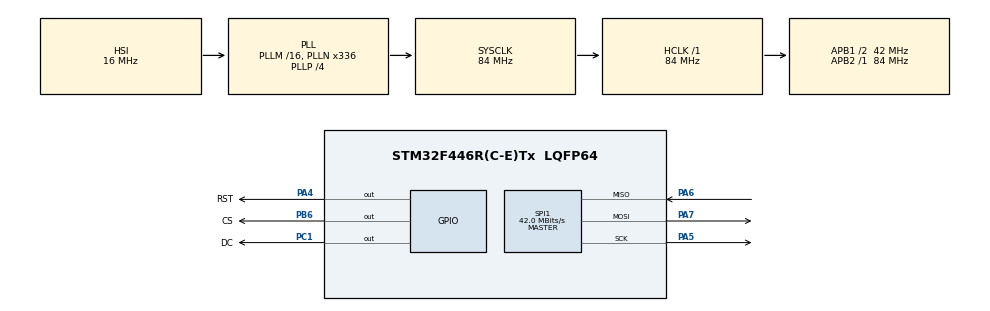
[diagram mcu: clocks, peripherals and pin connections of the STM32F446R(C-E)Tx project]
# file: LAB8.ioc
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Mcu.Family=STM32F4
Mcu.Name=STM32F446R(C-E)Tx
Mcu.Package=LQFP64
NVIC.PriorityGroup=NVIC_PRIORITYGROUP_0
PA13.GPIO_Label=TMS
PA13.Signal=SYS_JTMS-SWDIO
PA14.GPIO_Label=TCK
PA14.Signal=SYS_JTCK-SWCLK
PA2.GPIO_Label=USART_TX
PA2.Signal=USART2_TX
PA3.GPIO_Label=USART_RX
PA3.Signal=USART2_RX
PA4.GPIO_Label=RST
PA4.PinState=GPIO_PIN_SET
PA4.Signal=GPIO_Output
PA5.Mode=Full_Duplex_Master
PA5.Signal=SPI1_SCK
PA6.Mode=Full_Duplex_Master
PA6.Signal=SPI1_MISO
PA7.Mode=Full_Duplex_Master
PA7.Signal=SPI1_MOSI
PB3.GPIO_Label=SWO
PB3.Signal=SYS_JTDO-SWO
PB6.GPIO_Label=CS
PB6.PinState=GPIO_PIN_SET
PB6.Signal=GPIO_Output
PC1.GPIO_Label=DC
PC1.PinState=GPIO_PIN_SET
PC1.Signal=GPIO_Output
PC14-OSC32_IN.Signal=RCC_OSC32_IN
PC15-OSC32_OUT.Signal=RCC_OSC32_OUT
PH0-OSC_IN.Signal=RCC_OSC_IN
PH1-OSC_OUT.Signal=RCC_OSC_OUT
ProjectManager.HeapSize=0x200
ProjectManager.StackSize=0x400
ProjectManager.TargetToolchain=STM32CubeIDE
RCC.AHBFreq_Value=84000000
RCC.APB1CLKDivider=RCC_HCLK_DIV2
RCC.APB1Freq_Value=42000000
RCC.APB1TimFreq_Value=84000000
RCC.APB2Freq_Value=84000000
RCC.APB2TimFreq_Value=84000000
RCC.CortexFreq_Value=84000000
RCC.FLatency-AdvancedSettings=FLASH_LATENCY_2
RCC.HCLKFreq_Value=84000000
RCC.HSE_VALUE=8000000
RCC.HSI_VALUE=16000000
RCC.LSE_VALUE=32768
RCC.PLLN=336
RCC.PLLP=RCC_PLLP_DIV4
RCC.SYSCLKFreq_VALUE=84000000
RCC.SYSCLKSource=RCC_SYSCLKSOURCE_PLLCLK
RCC.USBFreq_Value=168000000
RCC.VCOOutputFreq_Value=336000000
SPI1.CalculateBaudRate=42.0 MBits/s
SPI1.Direction=SPI_DIRECTION_2LINES
SPI1.Mode=SPI_MODE_MASTER
SPI1.VirtualType=VM_MASTER
board=NUCLEO-F446RE

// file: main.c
/* USER CODE BEGIN Header */
/**
  ******************************************************************************
  * @file           : main.c
  * @brief          : Main program body
  ******************************************************************************
  * @attention
  *
  * Copyright (c) 2026 STMicroelectronics.
  * All rights reserved.
  *
  * This software is licensed under terms that can be found in the LICENSE file
  * in the root directory of this software component.
  * If no LICENSE file comes with this software, it is provided AS-IS.
  *
  ******************************************************************************
  */
/* USER CODE END Header */
#include "main.h"

/* USER CODE BEGIN Includes */
#include "ili9341.h"
#include "corazon.h"
#include "linea_ecg.h"
/* USER CODE END Includes */

SPI_HandleTypeDef hspi1;

void SystemClock_Config(void);
static void MX_GPIO_Init(void);
static void MX_SPI1_Init(void);

int main(void)
{

  /* MCU Configuration--------------------------------------------------------*/

  /* Reset of all peripherals, Initializes the Flash interface and the Systick. */
  HAL_Init();

  /* Configure the system clock */
  SystemClock_Config();

  /* Initialize all configured peripherals */
  MX_GPIO_Init();
  MX_SPI1_Init();

  /* USER CODE BEGIN 2 */
  LCD_Init();

  // COLORES CUADROS
  #define FONDO       0x10C5
  #define BARRA       0x214A
  #define MORADO      0x3188
  #define ROSADO      0xEC1B
  #define AZUL        0x19AC
  #define CELESTE     0x65DF
  #define PULSO       0x214F
  #define ROSA_PASTEL 0xF42F
  #define VERDE       0x8EDB

  LCD_Clear(FONDO);

  // Encabezado
  FillRect(0, 0, 320, 43, BARRA);

  // linea bajo titulo
  FillRect(0, 43, 320, 3, ROSADO);

  // Sist. (izq)
  FillRect(8, 56, 148, 91, ROSADO);
  FillRect(10, 58, 144, 87, MORADO);

  // Diast (der)
  FillRect(164, 56, 148, 91, CELESTE);
  FillRect(166, 58, 144, 87, AZUL);

  // Pulso
  FillRect(8, 155, 304, 53, CELESTE);
  FillRect(10, 157, 300, 49, PULSO);

  // indicadores
  FillRect(28, 221, 65, 7, ROSA_PASTEL);
  FillRect(127, 221, 65, 7, CELESTE);
  FillRect(226, 221, 65, 7, VERDE);

  // Colores texto
  #define BLANCO       0xFFFF
  #define TEXTO_ROSA   0xF81F
  #define TEXTO_AZUL   0x07FF

  // Encabezado
  LCD_Print("TENSIOMETRO", 65, 12, 2, BLANCO, BARRA);

  // sist texto
  LCD_Print("SISTOLICA", 29, 64, 1, BLANCO, MORADO);
  LCD_Print("120", 45, 87, 2, BLANCO, MORADO);
  LCD_Print("mmHg", 60, 119, 1, BLANCO, MORADO);

  // diast texto
  LCD_Print("DIASTOLICA", 182, 64, 1, BLANCO, AZUL);
  LCD_Print("80", 213, 87, 2, BLANCO, AZUL);
  LCD_Print("mmHg", 215, 119, 1, BLANCO, AZUL);

  // pulso texto
  LCD_Print("PULSO", 37, 167, 1, BLANCO, PULSO);
  LCD_Print("72", 135, 164, 2, BLANCO, PULSO);
  LCD_Print("BPM", 218, 171, 1, BLANCO, PULSO);

  // indicadores
  LCD_Print("INICIO", 39, 210, 1, BLANCO, FONDO);
  LCD_Print("HIST.", 139, 210, 1, BLANCO, FONDO);
  LCD_Print("CONFIG", 235, 210, 1, BLANCO, FONDO);

  LCD_BitmapTransparent(270, 166, 32, 32, corazon, 0x0000);

  // ECG TITULO
  LCD_BitmapTransparent(5, 7, 55, 30, lineaecg, 0x0000);
  LCD_BitmapTransparent(260, 7, 55, 30, lineaecg, 0x0000);

  /* USER CODE END 2 */

  /* Infinite loop */
  while (1)
  {

  }
}

void SystemClock_Config(void)
{
  RCC_OscInitTypeDef RCC_OscInitStruct = {0};
  RCC_ClkInitTypeDef RCC_ClkInitStruct = {0};

  /** Configure the main internal regulator output voltage
  */
  __HAL_RCC_PWR_CLK_ENABLE();
  __HAL_PWR_VOLTAGESCALING_CONFIG(PWR_REGULATOR_VOLTAGE_SCALE3);

  /** Initializes the RCC Oscillators according to the specified parameters
  * in the RCC_OscInitTypeDef structure.
  */
  RCC_OscInitStruct.OscillatorType = RCC_OSCILLATORTYPE_HSI;
  RCC_OscInitStruct.HSIState = RCC_HSI_ON;
  RCC_OscInitStruct.HSICalibrationValue = RCC_HSICALIBRATION_DEFAULT;
  RCC_OscInitStruct.PLL.PLLState = RCC_PLL_ON;
  RCC_OscInitStruct.PLL.PLLSource = RCC_PLLSOURCE_HSI;
  RCC_OscInitStruct.PLL.PLLM = 16;
  RCC_OscInitStruct.PLL.PLLN = 336;
  RCC_OscInitStruct.PLL.PLLP = RCC_PLLP_DIV4;
  RCC_OscInitStruct.PLL.PLLQ = 2;
  RCC_OscInitStruct.PLL.PLLR = 2;
  if (HAL_RCC_OscConfig(&RCC_OscInitStruct) != HAL_OK)
  {
    Error_Handler();
  }

  /** Initializes the CPU, AHB and APB buses clocks
  */
  RCC_ClkInitStruct.ClockType = RCC_CLOCKTYPE_HCLK|RCC_CLOCKTYPE_SYSCLK
                              |RCC_CLOCKTYPE_PCLK1|RCC_CLOCKTYPE_PCLK2;
  RCC_ClkInitStruct.SYSCLKSource = RCC_SYSCLKSOURCE_PLLCLK;
  RCC_ClkInitStruct.AHBCLKDivider = RCC_SYSCLK_DIV1;
  RCC_ClkInitStruct.APB1CLKDivider = RCC_HCLK_DIV2;
  RCC_ClkInitStruct.APB2CLKDivider = RCC_HCLK_DIV1;

  if (HAL_RCC_ClockConfig(&RCC_ClkInitStruct, FLASH_LATENCY_2) != HAL_OK)
  {
    Error_Handler();
  }
}

static void MX_SPI1_Init(void)
{

  /* SPI1 parameter configuration*/
  hspi1.Instance = SPI1;
  hspi1.Init.Mode = SPI_MODE_MASTER;
  hspi1.Init.Direction = SPI_DIRECTION_2LINES;
  hspi1.Init.DataSize = SPI_DATASIZE_8BIT;
  hspi1.Init.CLKPolarity = SPI_POLARITY_LOW;
  hspi1.Init.CLKPhase = SPI_PHASE_1EDGE;
  hspi1.Init.NSS = SPI_NSS_SOFT;
  hspi1.Init.BaudRatePrescaler = SPI_BAUDRATEPRESCALER_2;
  hspi1.Init.FirstBit = SPI_FIRSTBIT_MSB;
  hspi1.Init.TIMode = SPI_TIMODE_DISABLE;
  hspi1.Init.CRCCalculation = SPI_CRCCALCULATION_DISABLE;
  hspi1.Init.CRCPolynomial = 10;
  if (HAL_SPI_Init(&hspi1) != HAL_OK)
  {
    Error_Handler();
  }

}

static void MX_GPIO_Init(void)
{
  GPIO_InitTypeDef GPIO_InitStruct = {0};

  /* GPIO Ports Clock Enable */
  __HAL_RCC_GPIOC_CLK_ENABLE();
  __HAL_RCC_GPIOH_CLK_ENABLE();
  __HAL_RCC_GPIOA_CLK_ENABLE();
  __HAL_RCC_GPIOB_CLK_ENABLE();

  /*Configure GPIO pin Output Level */
  HAL_GPIO_WritePin(DC_GPIO_Port, DC_Pin, GPIO_PIN_SET);

  /*Configure GPIO pin Output Level */
  HAL_GPIO_WritePin(RST_GPIO_Port, RST_Pin, GPIO_PIN_SET);

  /*Configure GPIO pin Output Level */
  HAL_GPIO_WritePin(CS_GPIO_Port, CS_Pin, GPIO_PIN_SET);

  /*Configure GPIO pin : DC_Pin */
  GPIO_InitStruct.Pin = DC_Pin;
  GPIO_InitStruct.Mode = GPIO_MODE_OUTPUT_PP;
  GPIO_InitStruct.Pull = GPIO_NOPULL;
  GPIO_InitStruct.Speed = GPIO_SPEED_FREQ_LOW;
  HAL_GPIO_Init(DC_GPIO_Port, &GPIO_InitStruct);

  /*Configure GPIO pins : USART_TX_Pin USART_RX_Pin */
  GPIO_InitStruct.Pin = USART_TX_Pin|USART_RX_Pin;
  GPIO_InitStruct.Mode = GPIO_MODE_AF_PP;
  GPIO_InitStruct.Pull = GPIO_NOPULL;
  GPIO_InitStruct.Speed = GPIO_SPEED_FREQ_VERY_HIGH;
  GPIO_InitStruct.Alternate = GPIO_AF7_USART2;
  HAL_GPIO_Init(GPIOA, &GPIO_InitStruct);

  /*Configure GPIO pin : RST_Pin */
  GPIO_InitStruct.Pin = RST_Pin;
  GPIO_InitStruct.Mode = GPIO_MODE_OUTPUT_PP;
  GPIO_InitStruct.Pull = GPIO_NOPULL;
  GPIO_InitStruct.Speed = GPIO_SPEED_FREQ_LOW;
  HAL_GPIO_Init(RST_GPIO_Port, &GPIO_InitStruct);

  /*Configure GPIO pin : CS_Pin */
  GPIO_InitStruct.Pin = CS_Pin;
  GPIO_InitStruct.Mode = GPIO_MODE_OUTPUT_PP;
  GPIO_InitStruct.Pull = GPIO_NOPULL;
  GPIO_InitStruct.Speed = GPIO_SPEED_FREQ_LOW;
  HAL_GPIO_Init(CS_GPIO_Port, &GPIO_InitStruct);

}

void Error_Handler(void)
{
  __disable_irq();
  while (1)
  {
  }
}
